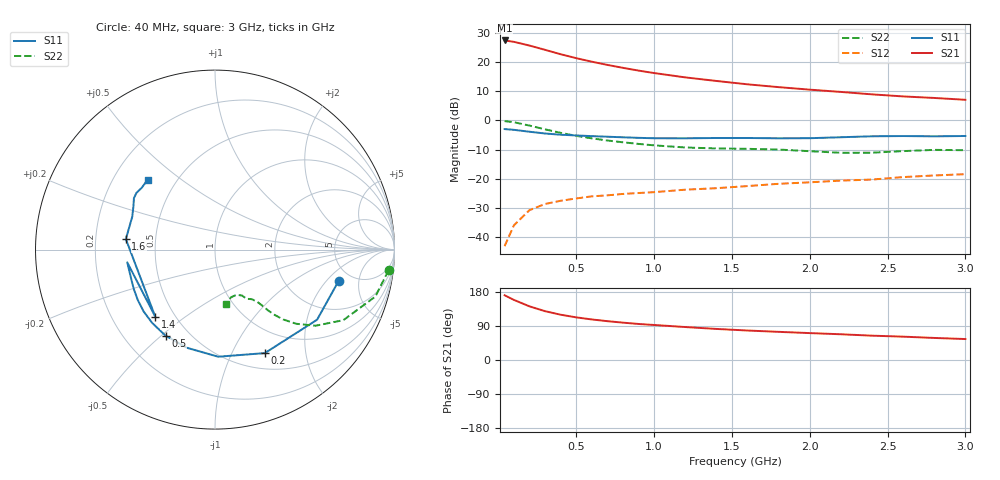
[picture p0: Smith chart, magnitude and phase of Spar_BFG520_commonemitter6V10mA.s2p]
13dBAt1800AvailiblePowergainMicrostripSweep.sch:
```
<Qucs Schematic 0.0.20>
<Properties>
  <View=-96,-27,1700,1003,0.946185,47,0>
  <Grid=10,10,1>
  <DataSet=13dBAt1800AvailiblePowergainMicrostripSweep.dat>
  <DataDisplay=13dBAt1800AvailiblePowergainMicrostripSweep.dpl>
  <OpenDisplay=1>
  <Script=13dBAt1800AvailiblePowergainMicrostripSweep.m>
  <RunScript=0>
  <showFrame=0>
  <FrameText0=Title>
  <FrameText1=Drawn By:>
  <FrameText2=Date:>
  <FrameText3=Revision:>
</Properties>
<Symbol>
</Symbol>
<Components>
  <GND * 5 370 330 0 0 0 0>
  <GND * 5 670 360 0 0 0 0>
  <GND * 5 90 360 0 0 0 0>
  <Pac P1 1 90 340 18 -26 0 1 "1" 1 "50 Ohm" 1 "0 dBm" 0 "1 GHz" 0 "26.85" 0>
  <Pac P2 1 670 330 18 -26 0 1 "2" 1 "50 Ohm" 1 "0 dBm" 0 "1 GHz" 0 "26.85" 0>
  <SPfile X1 1 370 300 -26 -41 0 0 "/home/lasse/Documents/test M4/Spar_BFG520_commonemitter6V10mA.s2p" 0 "rectangular" 0 "linear" 0 "open" 0 "2" 0>
  <Eqn Eqn4 1 900 240 -31 19 0 0 "Delta=S[1,1]*S[2,2]-S[1,2]*S[2,1]" 1 "yes" 0>
  <Eqn Eqn3 1 900 340 -31 19 0 0 "B1=1+abs(S[1,1])^2-abs(S[2,2]-abs(Delta)^2)" 1 "B2=1+abs(S[2,2])^2-abs(S[1,1]-abs(Delta)^2)" 1 "C1=S[1,1]-Delta*conj(S[2,2])" 1 "C2=S[2,2]-Delta*conj(S[1,1])" 1 "GammaS=(B1-sqrt(B1^-4*abs(C1)^2))/(2*C1)" 1 "yes" 0>
  <Eqn Sparam1 1 300 10 -30 16 0 0 "S12dB=dB(S[1,2])" 1 "S12=(S[1,2])" 1 "S11dB=dB(S[1,1])" 1 "S11=(S[1,1])" 1 "S21dB=dB(S[2,1])" 1 "S21=(S[2,1])" 1 "S22dB=dB(S[2,2])" 1 "S22=(S[2,2])" 1 "yes" 0>
  <MLIN MS1 1 80 180 -26 15 0 0 "Subst1" 1 "3.0622 mm" 1 "8.2282 mm" 1 "Hammerstad" 0 "Kirschning" 0 "26.85" 0>
  <MLIN MS3 1 270 300 -26 15 0 0 "Subst1" 1 "3.0622 mm" 1 "11.335 mm" 1 "Hammerstad" 0 "Kirschning" 0 "26.85" 0>
  <MLIN MS2 1 700 200 -26 15 0 0 "Subst1" 1 "3.0622 mm" 1 "10.864 mm" 1 "Hammerstad" 0 "Kirschning" 0 "26.85" 0>
  <MLIN MS4 1 480 300 -26 15 0 0 "Subst1" 1 "3.0622 mm" 1 "23.326 mm" 1 "Hammerstad" 0 "Kirschning" 0 "26.85" 0>
  <Eqn Eqn1 1 120 440 -31 19 0 0 "K=Rollet(S)" 1 "yes" 0>
  <Eqn Eqn2 1 290 450 -31 19 0 0 "GT=dB((abs(S[2,1])/abs(S[1,2]))*(K-sqrt(K^2-1)))" 1 "yes" 0>
  <.SP SP1 1 430 10 0 81 0 0 "lin" 1 "1.55 GHz" 1 "3GHz" 1 "1000" 1 "yes" 1 "1" 0 "2" 0 "no" 0 "no" 0>
  <SUBST Subst1 1 1110 50 -30 24 0 0 "4.4" 1 "1.6 mm" 1 "35 um" 1 "0.0018" 1 "0.022e-6" 1 "0.15e-6" 1>
  <Eqn Eqn6 1 1220 100 -31 19 0 0 "GammaL=(B2-sqrt(B2^-4*abs(C2)^2))/(2*C2)" 1 "yes" 0>
  <Eqn Eqn5 1 1230 210 -31 19 0 0 "GammaIndB=dB(abs(GammaIn))" 1 "GammaOutdB=dB(abs(GammaOut))" 1 "yes" 0>
  <Eqn Eqn8 1 1260 350 -31 19 0 0 "phase_GammaOut=phase(GammaOut)" 1 "phase_GammaIn=phase(GammaIn)" 1 "phase_GammaS=phase(GammaS)" 1 "phase_GammaL=phase(GammaL)" 1 "yes" 0>
  <Eqn Eqn7 1 890 540 -31 19 0 0 "GammaIn=S[1,1]+S[1,2]*S[2,1]*GammaL/(1-S[1,1]*GammaL)" 1 "GammaOut=S[2,2]+S[1,2]*S[2,1]*GammaS/(1-S[2,2]*GammaS)" 1 "yes" 0>
</Components>
<Wires>
  <590 200 590 300 "" 0 0 0 "">
  <90 360 90 370 "" 0 0 0 "">
  <90 300 90 310 "" 0 0 0 "">
  <90 300 190 300 "" 0 0 0 "">
  <590 300 670 300 "" 0 0 0 "">
  <190 300 240 300 "" 0 0 0 "">
  <300 300 340 300 "" 0 0 0 "">
  <400 300 450 300 "" 0 0 0 "">
  <510 300 590 300 "" 0 0 0 "">
  <590 200 670 200 "" 0 0 0 "">
  <190 180 190 300 "" 0 0 0 "">
  <110 180 190 180 "" 0 0 0 "">
</Wires>
<Diagrams>
  <Rect 770 150 240 160 3 #c0c0c0 1 00 1 0 0.2 1 1 -0.1 0.5 1.1 1 -0.1 0.5 1.1 315 0 225 "" "" "" "">
	<"F" #0000ff 0 3 0 0 0>
	<"Fmin" #ff0000 0 3 0 0 0>
  </Rect>
  <Rect 50 710 240 160 3 #c0c0c0 1 00 1 0 1e+09 5e+09 1 -22.4075 20 20 1 -1 1 1 315 0 225 "" "" "" "">
	<"S11dB" #0000ff 0 3 0 0 0>
	<"S22dB" #ff0000 0 3 0 0 0>
	<"S21dB" #ff00ff 0 3 0 0 0>
  </Rect>
  <Rect 390 690 285 147 3 #c0c0c0 1 00 1 1.5e+09 5e+08 3e+09 1 18.4334 5 32.7376 1 -1 1 1 315 0 225 "" "" "" "">
	<"GT" #0000ff 0 3 0 0 0>
	<"GammaIndB" #0000ff 0 3 0 0 0>
	<"GammaOutdB" #ff00ff 0 3 0 0 0>
  </Rect>
  <Rect 830 820 683 180 3 #c0c0c0 1 00 1 0 0.2 1 1 -0.1 0.5 1.1 1 -0.1 0.5 1.1 315 0 225 "" "" "" "">
	<"phase_GammaIn" #0000ff 0 3 0 0 0>
	<"phase_GammaL" #ff0000 0 3 0 0 0>
	<"phase_GammaOut" #ff00ff 0 3 0 0 0>
	<"phase_GammaS" #00ff00 0 3 0 0 0>
  </Rect>
</Diagrams>
<Paintings>
</Paintings>
```
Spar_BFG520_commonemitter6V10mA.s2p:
! Filename:  BFG520I.S2P  Version:  2.1
! NXP part #: BFG520  Date: Feb 1992
! Bias condition: Vce=6V, Ic=10mA
! IN LINE PINNING: same data as with cross emitter pinning.
#  MHz  S  MA  R  50
! Freq  S11  S21  S12  S22  !GUM [dB]
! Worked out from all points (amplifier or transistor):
!   21 points, 40 MHz to 3 GHz, reference 50 ohm
!   highest |S21| = 27.4 dB at 40 MHz (marker M1)
!   |S21| within 3 dB of that: start of sweep to 285.2 MHz
!   unconditionally stable (mu >= 1): 1.301 GHz to end of sweep
!   at 300 MHz: K = 0.31, MSG = 26.4 dB, |S12| = -28.6 dB
!   at 1 GHz: K = 0.86, MSG = 20.4 dB, |S12| = -24.6 dB
!   at 3 GHz: K = 1.24, MAG = 9.8 dB, |S12| = -18.4 dB
!   lowest NFmin = 1.10 dB at 500 MHz
!   S11 on the Smith chart (normalised r, x): 40 MHz: 3.91, -2.74; 200 MHz: 0.69, -1.35; 500 MHz: 0.37, -0.52; 1.4 GHz: 0.39, -0.39; 1.6 GHz: 0.33, +0.05; 3 GHz: 0.35, +0.38
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40  0.711 -14.1  23.47 170.8  0.007 82.3  0.974 -6.8
100  0.69 -34.5  22.22 158.5  0.016 74.0  0.931 -16.3
200  0.64 -64.3  19.18 141.5  0.029 62.4  0.816 -28.8
300  0.597 -88.3  16.21 128.8  0.037 54.2  0.703 -37.1
400  0.569 -106.1  13.63 119.5  0.042 50.9  0.613 -42.4
500  0.553 -119.9  11.67 112.5  0.046 48.6  0.544 -45.7
600  0.538 -130.7  10.15 107.0  0.05 47.2  0.493 -47.6
800  0.514 -146.7  7.968 98.6  0.055 47.9  0.422 -49.5
1400  0.5 -131.8  4.748 82.0  0.069 52.5  0.331 -56.1
1600  0.5 173.3  4.159 77.8  0.075 55.2  0.326 -57.3
3000  0.541 133.9  2.259 55.3  0.12 62.3  0.309 -78.3
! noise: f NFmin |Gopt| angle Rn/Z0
500  1.1  0.33  27  0.25
900  1.25  0.294  48  0.26
1000  1.3  0.298  52  0.27
2000  1.9  0.242  134  0.16
